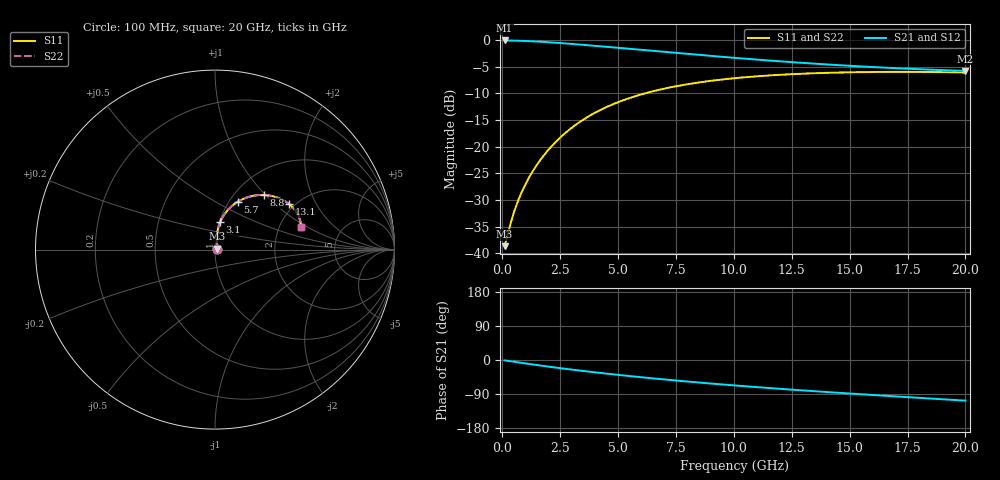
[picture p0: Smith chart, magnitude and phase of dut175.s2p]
! Touchstone file exported from HFSS 2024.1.0
!  File:  C:/UserFiles/LocalFiles/RDL_TSV_Batchsim/temp_RDL_TSV_175_1779437605.aedt
!  Generated:  04:27:59 PM May 22, 2026
!  Design:  RDL_TSV
!  Project:  temp_RDL_TSV_175_1779437605
!  Setup:  Setup1
!  Solution:  Sweep
! Variables:
!  dtsv = 5.28um
!  hbump = 3um
!  htsv = 51.31um
!  ldown = 142.18um
!  lrdl = 258.13um
!  p = 40
!  p1 = 53.04um
!  rhole = 10um
!  subl = 1459.06um
!  t = 450um
!  tdown = 2.73um
!  trdl = 4.7um
!  viad = 10um
!  wdown = 29.68um
!  wrdl = 10.58um
!  xbump = 18um
# GHz S MA R 50.000000
! Terminal data exported
! Port[1] = TM1_1_T1
! Port[2] = TM1_4_T1
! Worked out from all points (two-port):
!   200 points, 100 MHz to 20 GHz, reference 50 ohm
!   highest |S21| = -0.10 dB at 100 MHz (marker M1); lowest = -5.8 dB at 20 GHz (marker M2)
!   |S21| within 3 dB of the highest: start of sweep to 9.285 GHz
!   lowest |S11| = -38.7 dB at 100 MHz (marker M3), VSWR 1.02, Z = 51.1 + j0.449 ohm
!   |S11| at or under -10 dB: start of sweep to 6.178 GHz
!   |S22| runs from -38.7 to -6.0 dB; largest |S21 - S12| = 1.6e-14
!   S11 on the Smith chart (normalised r, x): 100 MHz: 1.02, +0.01; 3.1 GHz: 1.01, +0.32; 5.7 GHz: 1.10, +0.64; 8.8 GHz: 1.34, +0.98; 13.1 GHz: 1.86, +1.24; 20 GHz: 2.62, +0.89
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0.1  0.01163 22.2  0.9891 -0.9  0.9891 -0.9  0.01163 22.2
! Gamma 0 0 0 0
! Port Impedance 50 0 50 0
0.4  0.02039 57.0  0.987 -3.7  0.987 -3.7  0.02039 57.0
0.6  0.02779 66.5  0.9846 -5.5  0.9846 -5.5  0.02779 66.5
0.9  0.03998 74.4  0.9799 -8.2  0.9799 -8.2  0.03998 74.4
1.2  0.05332 78.7  0.9738 -10.8  0.9738 -10.8  0.05331 78.7
1.6  0.07271 81.4  0.9637 -14.2  0.9637 -14.2  0.07271 81.4
2  0.09367 82.2  0.952 -17.5  0.952 -17.5  0.09366 82.2
2.5  0.1214 81.6  0.9356 -21.5  0.9356 -21.5  0.1214 81.6
3.1  0.1559 79.4  0.9143 -26.1  0.9143 -26.1  0.1559 79.4
3.5  0.179 77.4  0.8996 -29.0  0.8996 -29.0  0.179 77.4
4.5  0.2347 71.7  0.8624 -36.0  0.8624 -36.0  0.2347 71.7
5.7  0.2948 64.6  0.8182 -43.7  0.8182 -43.7  0.2948 64.6
6.8  0.3419 58.3  0.7793 -50.2  0.7793 -50.2  0.3418 58.3
7.8  0.3779 53.1  0.7459 -55.8  0.7459 -55.8  0.3779 53.1
8.8  0.408 48.3  0.7146 -61.0  0.7146 -61.0  0.408 48.3
10.1  0.4392 42.6  0.6773 -67.4  0.6773 -67.4  0.4391 42.6
11.6  0.4657 36.8  0.6394 -74.3  0.6394 -74.3  0.4656 36.8
13.1  0.4838 31.7  0.6066 -80.8  0.6066 -80.8  0.4838 31.7
13.4  0.4865 30.8  0.6007 -82.0  0.6007 -82.0  0.4865 30.8
15  0.4971 26.1  0.5721 -88.5  0.5721 -88.5  0.4971 26.1
16.7  0.5016 21.8  0.5472 -95.0  0.5472 -95.0  0.5016 21.8
20  0.495 14.9  0.5121 -107.3  0.5121 -107.3  0.495 14.9
